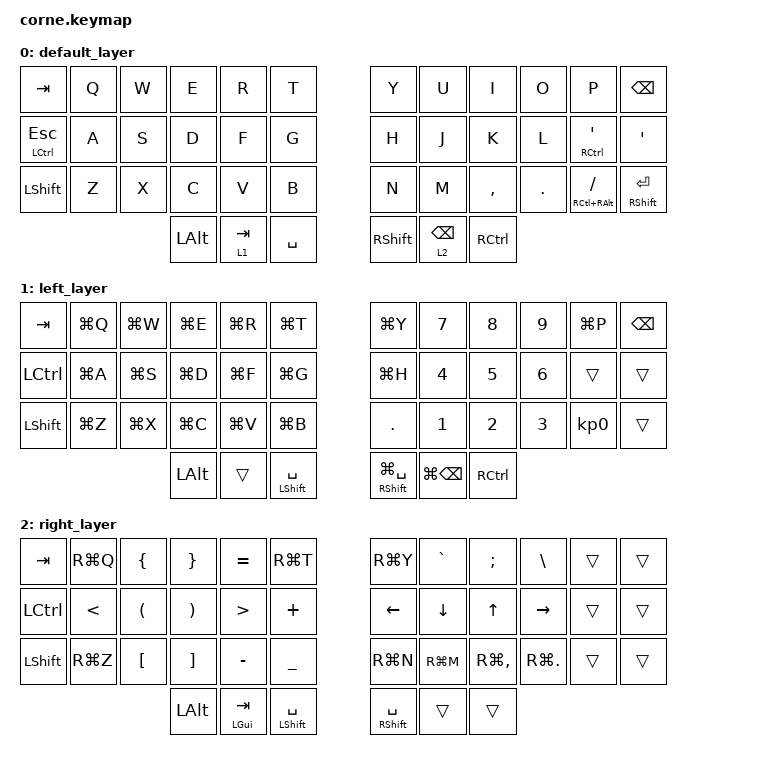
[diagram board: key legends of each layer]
/*
 * Copyright (c) 2020 The ZMK Contributors
 *
 * SPDX-License-Identifier: MIT
 */

#include <behaviors.dtsi>
#include <dt-bindings/zmk/keys.h>

/ {
    combos {
        compatible = "zmk,combos";

        combo-kl-enter {
            bindings = <&kp ENTER>;
            key-positions = <32 33>;
            layers = <0>;
        };

        combo-jk-esc {
            bindings = <&kp ESC>;
            key-positions = <31 32>;
            layers = <0>;
        };
    };

    behaviors {
        lp_hpqt: lp_hpqt {
            compatible = "zmk,behavior-hold-tap";
            label = "LP_HPQT";
            bindings = <&mo>, <&kp>;

            #binding-cells = <2>;
            tapping-term-ms = <200>;
            quick-tap-ms = <150>;
        };
    };

    keymap {
        compatible = "zmk,keymap";

        default_layer {
            // -----------------------------------------------------------------------------------------
            // |  TAB |  Q  |  W  |  E  |  R  |  T  |   |  Y  |  U   |  I  |  O  |  P  | BKSP |
            // | CTRL |  A  |  S  |  D  |  F  |  G  |   |  H  |  J   |  K  |  L  |  ;  |  '   |
            // | SHFT |  Z  |  X  |  C  |  V  |  B  |   |  N  |  M   |  ,  |  .  |  /  | ESC  |
            //                    | GUI | LWR | SPC |   | ENT | RSE  | ALT |

            bindings = <
&kp TAB        &kp Q  &kp W  &kp E     &kp R           &kp T        &kp Y       &kp U                 &kp I      &kp O    &kp P                   &kp BSPC
&mt LCTRL ESC  &kp A  &kp S  &kp D     &kp F           &kp G        &kp H       &kp J                 &kp K      &kp L    &mt RCTRL SINGLE_QUOTE  &kp SQT
&kp LSHFT      &kp Z  &kp X  &kp C     &kp V           &kp B        &kp N       &kp M                 &kp COMMA  &kp DOT  &mt RC(RALT) SLASH      &mt RSHFT ENTER
                             &kp LALT  &lp_hpqt 1 TAB  &kp SPACE    &kp RSHIFT  &lp_hpqt 2 BACKSPACE  &kp RCTRL
            >;
        };

        left_layer {
            // -----------------------------------------------------------------------------------------
            // |  TAB |  1  |  2  |  3  |  4  |  5  |   |  6  |  7  |  8  |  9  |  0  | BKSP |
            // | BTCLR| BT1 | BT2 | BT3 | BT4 | BT5 |   | LFT | DWN |  UP | RGT |     |      |
            // | SHFT |     |     |     |     |     |   |     |     |     |     |     |      |
            //                    | GUI |     | SPC |   | ENT |     | ALT |

            bindings = <
&kp TAB    &kp LG(Q)  &kp LG(W)  &kp LG(E)  &kp LG(R)  &kp LG(T)           &kp LG(Y)             &kp N7             &kp N8        &kp N9        &kp LG(P)        &kp BSPC
&kp LCTRL  &kp LG(A)  &kp LG(S)  &kp LG(D)  &kp LG(F)  &kp LG(G)           &kp LG(H)             &kp NUMBER_4       &kp NUMBER_5  &kp NUMBER_6  &trans           &trans
&kp LSHFT  &kp LG(Z)  &kp LG(X)  &kp LG(C)  &kp LG(V)  &kp LG(B)           &kp PERIOD            &kp NUMBER_1       &kp NUMBER_2  &kp NUMBER_3  &kp KP_NUMBER_0  &trans
                                 &kp LALT   &trans     &mt LSHIFT SPACE    &mt RSHIFT LG(SPACE)  &kp LG(BACKSPACE)  &kp RCTRL
            >;
        };

        right_layer {
            // -----------------------------------------------------------------------------------------
            // |  TAB |  !  |  @  |  #  |  $  |  %  |   |  ^  |  &  |  *  |  (  |  )  | BKSP |
            // | CTRL |     |     |     |     |     |   |  -  |  =  |  [  |  ]  |  \  |  `   |
            // | SHFT |     |     |     |     |     |   |  _  |  +  |  {  |  }  | "|" |  ~   |
            //                    | GUI |     | SPC |   | ENT |     | ALT |

            bindings = <
&kp TAB    &kp RG(Q)      &kp LEFT_BRACE        &kp RIGHT_BRACE        &kp EQUAL         &kp RG(T)          &kp RG(Y)         &kp GRAVE  &kp SEMICOLON  &kp BACKSLASH   &trans  &trans
&kp LCTRL  &kp LESS_THAN  &kp LEFT_PARENTHESIS  &kp RIGHT_PARENTHESIS  &kp GREATER_THAN  &kp PLUS           &kp LEFT          &kp DOWN   &kp UP         &kp RIGHT       &trans  &trans
&kp LSHFT  &kp RG(Z)      &kp LEFT_BRACKET      &kp RIGHT_BRACKET      &kp MINUS         &kp UNDER          &kp RG(N)         &kp RG(M)  &kp RG(COMMA)  &kp RG(PERIOD)  &trans  &trans
                                                &kp LALT               &mt LGUI TAB      &mt LSHFT SPACE    &mt RSHIFT SPACE  &trans     &trans
            >;
        };
    };
};
